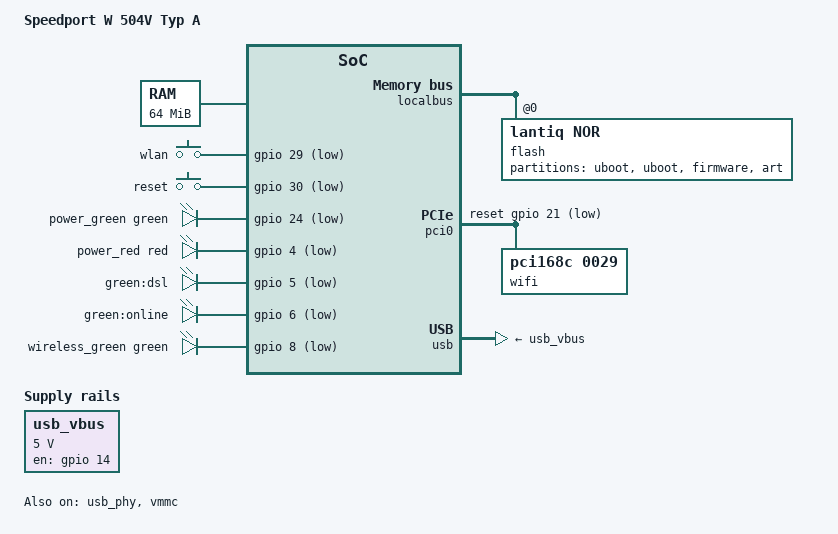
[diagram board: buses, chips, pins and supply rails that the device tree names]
#include "danube.dtsi"

#include <dt-bindings/input/input.h>
#include <dt-bindings/leds/common.h>

/ {
	compatible = "arcadyan,arv8539pw22", "lantiq,xway", "lantiq,danube";
	model = "Speedport W 504V Typ A";

	chosen {
		bootargs = "console=ttyLTQ0,115200";
	};

	aliases {
		led-boot = &power_green;
		led-failsafe = &power_red;
		led-running = &power_green;
		led-upgrade = &power_green;

		led-dsl = &dsl_green;
		led-internet = &online_green;
		led-wifi = &wireless_green;
	};

	memory@0 {
		device_type = "memory";
		reg = <0x0 0x4000000>;
	};

	keys {
		compatible = "gpio-keys-polled";
		poll-interval = <100>;

		wlan {
			label = "wlan";
			gpios = <&gpio 29 GPIO_ACTIVE_LOW>;
			linux,code = <KEY_WPS_BUTTON>;
		};
		reset {
			label = "reset";
			gpios = <&gpio 30 GPIO_ACTIVE_LOW>;
			linux,code = <KEY_RESTART>;
		};
		/* key DECT is missing */
	};

	leds {
		compatible = "gpio-leds";

		power_green: power-green {
			function = LED_FUNCTION_POWER;
			color = <LED_COLOR_ID_GREEN>;
			gpios = <&gpio 24 GPIO_ACTIVE_LOW>;
			default-state = "keep";
		};
		power_red: power-red {
			function = LED_FUNCTION_POWER;
			color = <LED_COLOR_ID_RED>;
			gpios = <&gpio 4 GPIO_ACTIVE_LOW>;
		};

		dsl_green: dsl-green {
			label = "green:dsl";
			gpios = <&gpio 5 GPIO_ACTIVE_LOW>;
		};

		online_green: online-green {
			label = "green:online";
			gpios = <&gpio 6 GPIO_ACTIVE_LOW>;
		};

		wireless_green: wireless-green {
			function = LED_FUNCTION_WLAN;
			color = <LED_COLOR_ID_GREEN>;
			gpios = <&gpio 8 GPIO_ACTIVE_LOW>;
		};
		/*
			telefonie green is missing
		*/
	};

	usb_vbus: regulator-usb-vbus {
		compatible = "regulator-fixed";

		regulator-name = "USB_VBUS";

		regulator-min-microvolt = <5000000>;
		regulator-max-microvolt = <5000000>;

		gpios = <&gpio 14 GPIO_ACTIVE_HIGH>;
		enable-active-high;
	};
};

&gpio {
	pinctrl-names = "default";
	pinctrl-0 = <&state_default>;

	state_default: pinmux {
		pci_rst {
			lantiq,pins = "io21";
			lantiq,pull = <2>;
			lantiq,output = <1>;
		};
		relay {
			lantiq,pins = "io31";
			lantiq,output = <1>;
		};
	};
};

&gsw {
	phy-mode = "mii";
	nvmem-cells = <&macaddr_art_16 0>;
	nvmem-cell-names = "mac-address";
};

&localbus {
	flash@0 {
		compatible = "lantiq,nor";
		bank-width = <2>;
		reg = <0 0x0 0x800000>;

		partitions {
			compatible = "fixed-partitions";
			#address-cells = <1>;
			#size-cells = <1>;

			partition@0 {
				label = "uboot";
				reg = <0x00000 0x30000>;	/* 192 KiB */
				read-only;
			};

			partition@30000 {
				label = "uboot";
				reg = <0x30000 0x10000>;	/* 64 KiB */
				read-only;
			};

			partition@40000 {
				label = "firmware";
				reg = <0x40000 0x7b0000>;       /* 7872 KiB */
			};

			art: partition@7f0000 {
				label = "art";
				reg = <0x7f0000 0x10000>;       /* 64 KiB*/
				read-only;

				nvmem-layout {
					compatible = "fixed-layout";
					#address-cells = <1>;
					#size-cells = <1>;

					macaddr_art_16: macaddr@16 {
						compatible = "mac-base";
						reg = <0x16 0x6>;
						#nvmem-cell-cells = <1>;
					};
				};
			};
		};
	};
};

&pci0 {
	status = "okay";

	pinctrl-0 = <&pci_gnt1_pins>, <&pci_req1_pins>;
	pinctrl-names = "default";

	reset-gpios = <&gpio 21 GPIO_ACTIVE_LOW>;

	wifi@e,0 {
		compatible = "pci168c,0029";
		reg = <0x7000 0 0 0 0>;
		qca,no-eeprom; /* load from ath9k-eeprom-pci-0000:00:0e.0.bin */
		nvmem-cells = <&macaddr_art_16 1>;
		nvmem-cell-names = "mac-address";
	};
};

&usb_phy {
	status = "okay";
};

&usb {
	status = "okay";
	vbus-supply = <&usb_vbus>;
};

&vmmc {
	status = "okay";
	gpios = <&gpio 31 GPIO_ACTIVE_HIGH>;
};
